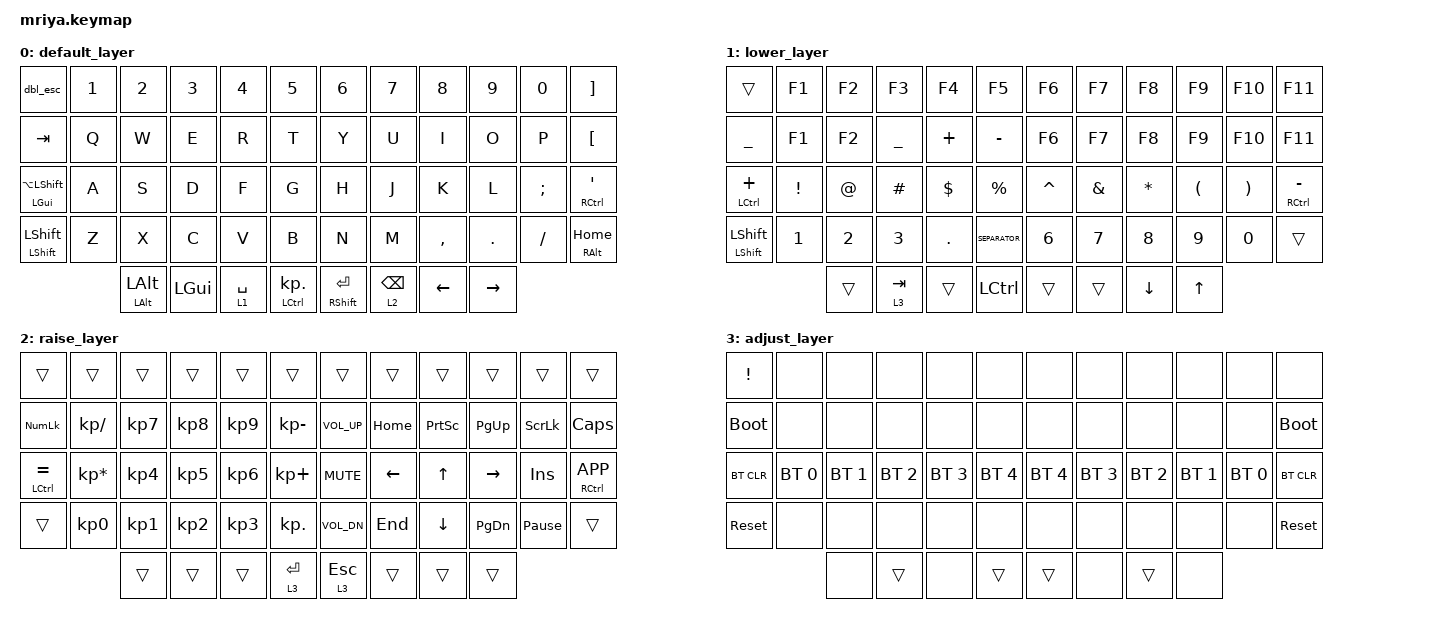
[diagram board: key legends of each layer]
/*
 * Copyright (c) 2023 Andrei Gaevskii
 *
 * SPDX-License-Identifier: MIT
 */

#include <behaviors.dtsi>
#include <dt-bindings/zmk/bt.h>
#include <dt-bindings/zmk/keys.h>

#define DEF 0
#define LWR 1
#define RSE 2
#define ADJ 3

&lt { quick_tap_ms = <200>; };

&mt { quick_tap_ms = <200>; };

/ {
    behaviors {
        dbl_esc: dbl_esc {
            compatible = "zmk,behavior-tap-dance";
            label = "DBL_ESC";
            #binding-cells = <0>;
            bindings = <&kp GRAVE>, <&kp ESC>;
        };
    };

    keymap {
        compatible = "zmk,keymap";

        default_layer {
            bindings = <
  &dbl_esc                     &kp N1  &kp N2                 &kp N3        &kp N4       &kp N5              &kp N6                 &kp N7      &kp N8          &kp N9           &kp N0    &kp RIGHT_BRACKET
  &kp TAB                      &kp Q   &kp W                  &kp E         &kp R        &kp T               &kp Y                  &kp U       &kp I           &kp O            &kp P     &kp LBKT
  &mt LEFT_GUI LA(LEFT_SHIFT)  &kp A   &kp S                  &kp D         &kp F        &kp G               &kp H                  &kp J       &kp K           &kp L            &kp SEMI  &mt RCTRL SQT
  &mt LEFT_SHIFT LEFT_SHIFT    &kp Z   &kp X                  &kp C         &kp V        &kp B               &kp N                  &kp M       &kp COMMA       &kp DOT          &kp FSLH  &mt RIGHT_ALT HOME
                                       &mt LEFT_ALT LEFT_ALT  &kp LEFT_GUI  &lt 1 SPACE  &mt LCTRL KP_DOT    &mt RIGHT_SHIFT ENTER  &lt 2 BSPC  &kp LEFT_ARROW  &kp RIGHT_ARROW
            >;
        };

        lower_layer {
            bindings = <
  &trans                     &kp F1    &kp F2  &kp F3          &kp F4    &kp F5           &kp F6     &kp F7    &kp F8          &kp F9        &kp F10   &kp F11
  &kp UNDER                  &kp F1    &kp F2  &kp UNDERSCORE  &kp PLUS  &kp MINUS        &kp F6     &kp F7    &kp F8          &kp F9        &kp F10   &kp F11
  &mt LCTRL PLUS             &kp EXCL  &kp AT  &kp HASH        &kp DLLR  &kp PRCNT        &kp CARET  &kp AMPS  &kp STAR        &kp LPAR      &kp RPAR  &mt RCTRL MINUS
  &mt LEFT_SHIFT LEFT_SHIFT  &kp N1    &kp N2  &kp N3          &kp DOT   &kp SEPARATOR    &kp N6     &kp N7    &kp N8          &kp N9        &kp N0    &trans
                                       &trans  &lt 3 TAB       &trans    &kp LCTRL        &trans     &trans    &kp DOWN_ARROW  &kp UP_ARROW
            >;
        };

        raise_layer {
            bindings = <
  &trans           &trans           &trans     &trans     &trans     &trans          &trans        &trans    &trans     &trans     &trans           &trans
  &kp KP_NUM       &kp KP_SLASH     &kp KP_N7  &kp KP_N8  &kp KP_N9  &kp KP_MINUS    &kp C_VOL_UP  &kp HOME  &kp PSCRN  &kp PG_UP  &kp SLCK         &kp CAPS
  &mt LCTRL EQUAL  &kp KP_MULTIPLY  &kp KP_N4  &kp KP_N5  &kp KP_N6  &kp KP_PLUS     &kp C_MUTE    &kp LEFT  &kp UP     &kp RIGHT  &kp INS          &mt RCTRL K_APP
  &trans           &kp KP_N0        &kp KP_N1  &kp KP_N2  &kp KP_N3  &kp KP_DOT      &kp C_VOL_DN  &kp END   &kp DOWN   &kp PG_DN  &kp PAUSE_BREAK  &trans
                                    &trans     &trans     &trans     &lt 3 RET       &lt 3 ESC     &trans    &trans     &trans
            >;
        };

        adjust_layer {
            bindings = <
  &kp EXCLAMATION  &none         &none         &none         &none         &none           &none         &none         &none         &none         &none         &none
  &bootloader      &none         &none         &none         &none         &none           &none         &none         &none         &none         &none         &bootloader
  &bt BT_CLR       &bt BT_SEL 0  &bt BT_SEL 1  &bt BT_SEL 2  &bt BT_SEL 3  &bt BT_SEL 4    &bt BT_SEL 4  &bt BT_SEL 3  &bt BT_SEL 2  &bt BT_SEL 1  &bt BT_SEL 0  &bt BT_CLR
  &sys_reset       &none         &none         &none         &none         &none           &none         &none         &none         &none         &none         &sys_reset
                                 &none         &trans        &none         &trans          &trans        &none         &trans        &none
            >;
        };
    };
};
